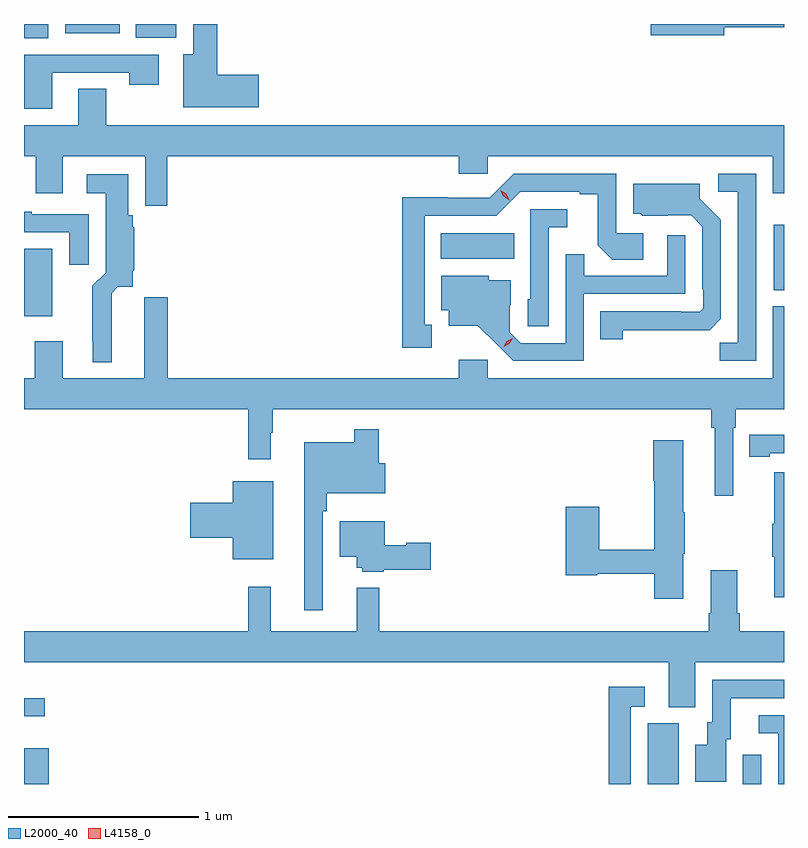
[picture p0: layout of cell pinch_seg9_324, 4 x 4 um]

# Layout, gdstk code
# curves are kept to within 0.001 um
import gdstk
lib = gdstk.Library(unit=1e-6, precision=1e-09)
def R(c, l, rs):  # rectangles x0, y0, x1, y1
    for r in rs: c.add(gdstk.rectangle(r[:2], r[2:], *l))
def P(c, l, *ps):  # polygons
    for p in ps: c.add(gdstk.Polygon(p, *l))
L2000_40 = (2000, 40)
L4158_0 = (4158, 0)

pinch_seg9_324 = lib.new_cell('pinch_seg9_324')
R(pinch_seg9_324, L2000_40, [(614.696,1191.784,614.825,1191.973), (617.978,1191.784,618.142,1192.104), (618.48,1191.784,618.576,1191.937), (614.696,1192.14,614.806,1192.236), (614.696,1194.246,614.845,1194.602), (618.641,1194.383,618.696,1194.727), (616.889,1194.548,617.276,1194.682), (614.696,1195.708,614.824,1195.784), (615.284,1195.712,615.496,1195.784), (614.912,1195.736,615.199,1195.784)])
P(pinch_seg9_324, L2000_40, [(618.382,1195.768),(618.696,1195.768),(618.696,1195.784),(617.994,1195.784),(617.994,1195.726),(618.382,1195.726)],
  [(615.931,1195.517),(615.713,1195.517),(615.713,1195.784),(615.587,1195.784),(615.587,1195.624),(615.533,1195.624),(615.533,1195.346),(615.931,1195.346)],
  [(614.845,1195.527),(615.25,1195.527),(615.25,1195.464),(615.406,1195.464),(615.406,1195.623),(614.696,1195.623),(614.696,1195.338),(614.845,1195.338)],
  [(615.449,1195.088),(616.985,1195.088),(616.985,1194.995),(617.136,1194.995),(617.136,1195.088),(618.638,1195.088),(618.638,1194.894),(618.696,1194.894),(618.696,1195.252),(615.129,1195.252),(615.129,1195.442),(614.981,1195.442),(614.981,1195.252),(614.696,1195.252),(614.696,1195.088),(614.759,1195.088),(614.759,1194.894),(614.899,1194.894),(614.899,1195.088),(615.333,1195.088),(615.333,1194.828),(615.449,1194.828)],
  [(616.843,1194.201),(616.804,1194.201),(616.804,1194.774),(617.181,1194.774),(617.307,1194.9),(617.621,1194.9),(617.621,1194.888),(617.715,1194.888),(617.715,1194.62),(617.791,1194.544),(617.956,1194.544),(617.956,1194.684),(617.814,1194.684),(617.814,1194.996),(617.274,1194.996),(617.148,1194.87),(616.926,1194.87),(616.926,1194.872),(616.686,1194.872),(616.686,1194.081),(616.843,1194.081)],
  [(618.549,1194.996),(618.351,1194.996),(618.351,1194.9),(618.453,1194.9),(618.453,1194.107),(618.358,1194.107),(618.358,1194.012),(618.549,1194.012)],
  [(615.157,1194.368),(615.189,1194.401),(615.269,1194.401),(615.269,1194.482),(615.275,1194.488),(615.275,1194.714),(615.269,1194.714),(615.269,1194.777),(615.244,1194.777),(615.244,1194.994),(615.027,1194.994),(615.027,1194.893),(615.125,1194.893),(615.125,1194.476),(615.056,1194.407),(615.056,1194.115),(615.059,1194.115),(615.059,1194.005),(615.157,1194.005)],
  [(617.847,1194.172),(618.304,1194.173),(618.363,1194.232),(618.363,1194.754),(618.253,1194.864),(618.253,1194.943),(617.903,1194.943),(617.903,1194.785),(617.941,1194.785),(617.95,1194.776),(618.207,1194.777),(618.267,1194.717),(618.267,1194.388),(618.27,1194.388),(618.27,1194.288),(618.252,1194.27),(618.152,1194.27),(618.152,1194.273),(617.728,1194.273),(617.728,1194.126),(617.847,1194.126)],
  [(617.457,1194.713),(617.554,1194.713),(617.554,1194.81),(617.361,1194.81),(617.361,1194.336),(617.346,1194.336),(617.346,1194.193),(617.457,1194.193)],
  [(615.037,1194.783),(614.737,1194.783),(614.737,1194.796),(614.696,1194.796),(614.696,1194.687),(614.933,1194.687),(614.933,1194.516),(615.037,1194.516)],
  [(617.643,1194.363),(618.177,1194.363),(618.177,1194.673),(618.081,1194.673),(618.081,1194.459),(617.645,1194.459),(617.645,1194.572),(617.547,1194.572),(617.547,1194.105),(617.31,1194.105),(617.253,1194.162),(617.253,1194.304),(617.257,1194.304),(617.257,1194.436),(617.142,1194.436),(617.142,1194.46),(616.892,1194.46),(616.892,1194.278),(616.931,1194.278),(616.931,1194.197),(617.083,1194.197),(617.27,1194.012),(617.643,1194.012)],
  [(618.429,1193.66),(618.443,1193.66),(618.443,1193.756),(618.696,1193.756),(618.696,1194.298),(618.638,1194.298),(618.638,1193.92),(617.136,1193.92),(617.136,1194.016),(616.985,1194.016),(616.985,1193.92),(615.452,1193.92),(615.452,1194.346),(615.329,1194.346),(615.329,1193.92),(614.899,1193.92),(614.899,1194.115),(614.752,1194.115),(614.752,1193.92),(614.696,1193.92),(614.696,1193.756),(615.877,1193.756),(615.877,1193.493),(615.994,1193.493),(615.994,1193.633),(616.006,1193.633),(616.006,1193.756),(618.313,1193.756),(618.313,1193.66),(618.332,1193.66),(618.332,1193.301),(618.429,1193.301)],
  [(616.269,1193.219),(616.289,1193.219),(616.289,1193.315),(616.597,1193.315),(616.597,1193.473),(616.562,1193.473),(616.562,1193.65),(616.434,1193.65),(616.434,1193.584),(616.172,1193.584),(616.172,1192.698),(616.269,1192.698)],
  [(618.622,1193.526),(618.696,1193.526),(618.696,1193.623),(618.622,1193.623),(618.622,1193.622),(618.514,1193.622),(618.514,1193.506),(618.622,1193.506)],
  [(618.166,1192.995),(618.174,1192.995),(618.174,1193.213),(618.166,1193.213),(618.166,1193.593),(618.008,1193.593),(618.008,1193.38),(618.013,1193.38),(618.013,1193.018),(617.724,1193.018),(617.724,1193.242),(617.546,1193.242),(617.546,1192.882),(617.712,1192.882),(617.712,1192.89),(618.013,1192.89),(618.013,1192.758),(618.166,1192.758)],
  [(618.696,1193.425),(618.644,1193.425),(618.644,1193.153),(618.633,1193.153),(618.633,1192.979),(618.644,1192.979),(618.644,1192.767),(618.696,1192.767)],
  [(616.009,1193.377),(615.794,1193.377),(615.794,1193.264),(615.57,1193.264),(615.57,1193.081),(615.794,1193.081),(615.794,1192.967),(616.009,1192.967)],
  [(616.59,1192.912),(616.837,1192.912),(616.837,1193.054),(616.707,1193.054),(616.707,1193.041),(616.594,1193.041),(616.594,1193.167),(616.358,1193.167),(616.358,1192.979),(616.448,1192.979),(616.448,1192.923),(616.476,1192.923),(616.476,1192.901),(616.59,1192.901)],
  [(618.229,1192.424),(618.696,1192.424),(618.696,1192.588),(618.464,1192.588),(618.464,1192.684),(618.451,1192.684),(618.451,1192.909),(618.311,1192.909),(618.311,1192.684),(618.299,1192.684),(618.299,1192.588),(616.565,1192.588),(616.565,1192.816),(616.448,1192.816),(616.448,1192.588),(615.995,1192.588),(615.995,1192.822),(615.877,1192.822),(615.877,1192.588),(614.696,1192.588),(614.696,1192.424),(618.089,1192.424),(618.089,1192.189),(618.229,1192.189)],
  [(618.391,1192.02),(618.415,1192.02),(618.415,1192.236),(618.696,1192.236),(618.696,1192.332),(618.318,1192.332),(618.318,1192.11),(618.293,1192.11),(618.293,1191.991),(618.23,1191.991),(618.23,1191.795),(618.391,1191.795)],
  [(617.889,1192.191),(617.962,1192.191),(617.962,1192.297),(617.773,1192.297),(617.773,1191.784),(617.889,1191.784)],
  [(618.696,1192.146),(618.564,1192.146),(618.564,1192.05),(618.666,1192.05),(618.666,1191.784),(618.696,1191.784)])
P(pinch_seg9_324, L4158_0, [(617.22,1194.085),(617.22,1194.086),(617.238,1194.115),(617.268,1194.13),(617.268,1194.13),(617.268,1194.13),(617.251,1194.1),(617.221,1194.085)],
  [(617.251,1194.857),(617.219,1194.877),(617.202,1194.91),(617.202,1194.91),(617.203,1194.91),(617.234,1194.891),(617.251,1194.858),(617.251,1194.857)])

lib.write_gds('pinch_seg9_324.gds')
